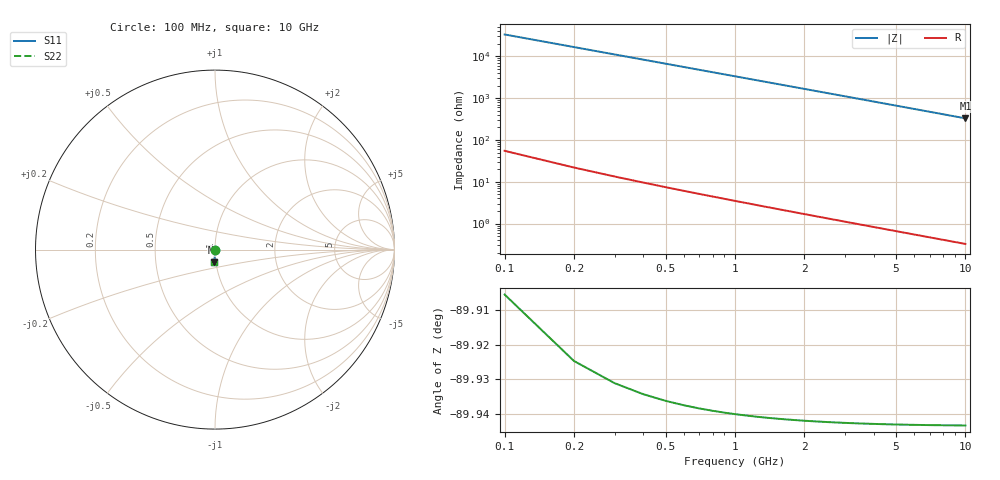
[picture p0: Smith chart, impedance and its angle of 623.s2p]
# Hz S RI R 50.00
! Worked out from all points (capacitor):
!   100 points, 100 MHz to 10 GHz, reference 50 ohm
!   read as one part in shunt: C = 47.7 fF near 100 MHz
!   lowest |Z| = 329 ohm at 10 GHz (marker M1)
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1e8  7.35e-06 -0.000711  1 -0.000787  1 -0.000787  7.35e-06 -0.000711
2e8  5e-06 -0.00142  1 -0.00157  1 -0.00157  5e-06 -0.00142
3e8  1.51e-06 -0.00213  1 -0.00236  1 -0.00236  1.51e-06 -0.00213
4e8  -3.1e-06 -0.00284  1 -0.00315  1 -0.00315  -3.1e-06 -0.00284
5e8  -8.84e-06 -0.00356  1 -0.00394  1 -0.00394  -8.84e-06 -0.00356
6e8  -1.57e-05 -0.00427  1 -0.00472  1 -0.00472  -1.57e-05 -0.00427
7e8  -2.37e-05 -0.00498  1 -0.00551  1 -0.00551  -2.37e-05 -0.00498
8e8  -3.28e-05 -0.00569  0.9999 -0.0063  0.9999 -0.0063  -3.28e-05 -0.00569
9e8  -4.3e-05 -0.0064  0.9999 -0.00709  0.9999 -0.00709  -4.3e-05 -0.0064
1.1e9  -6.69e-05 -0.00783  0.9999 -0.00866  0.9999 -0.00866  -6.69e-05 -0.00783
1.4e9  -0.000111 -0.00996  0.9999 -0.011  0.9999 -0.011  -0.000111 -0.00996
1.8e9  -0.000186 -0.0128  0.9998 -0.0142  0.9998 -0.0142  -0.000186 -0.0128
2.1e9  -0.000254 -0.015  0.9997 -0.0166  0.9997 -0.0166  -0.000254 -0.015
2.5e9  -0.000361 -0.0178  0.9996 -0.0197  0.9996 -0.0197  -0.000361 -0.0178
2.9e9  -0.000485 -0.0207  0.9995 -0.0229  0.9995 -0.0229  -0.000485 -0.0207
3.4e9  -0.000667 -0.0242  0.9993 -0.0268  0.9993 -0.0268  -0.000667 -0.0242
4.2e9  -0.00102 -0.03  0.999 -0.0332  0.999 -0.0332  -0.00102 -0.03
5.1e9  -0.0015 -0.0364  0.9985 -0.0403  0.9985 -0.0403  -0.0015 -0.0364
5.9e9  -0.00201 -0.0422  0.998 -0.0467  0.998 -0.0467  -0.00201 -0.0422
6.7e9  -0.00259 -0.0479  0.9974 -0.0531  0.9974 -0.0531  -0.00259 -0.0479
8.4e9  -0.00407 -0.0601  0.9959 -0.0666  0.9959 -0.0666  -0.00407 -0.0601
1e10  -0.00578 -0.0716  0.9942 -0.0793  0.9942 -0.0793  -0.00578 -0.0716
